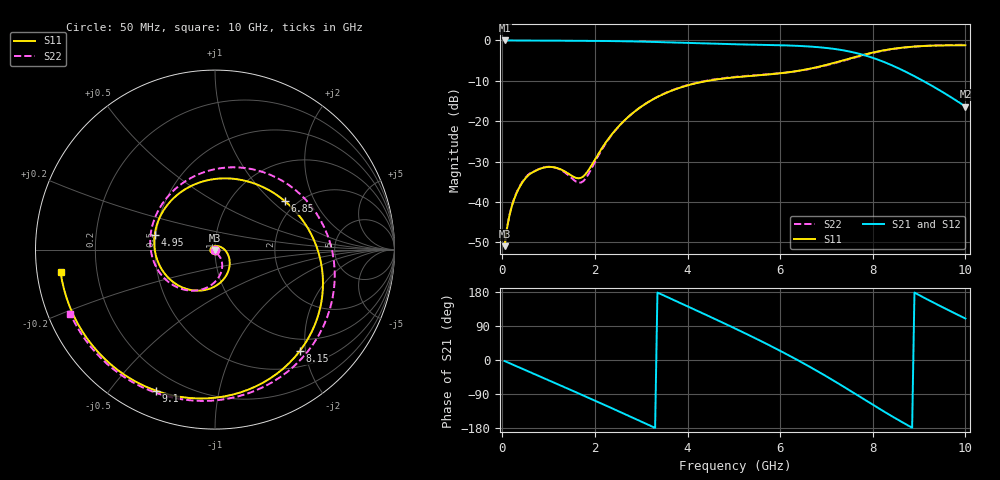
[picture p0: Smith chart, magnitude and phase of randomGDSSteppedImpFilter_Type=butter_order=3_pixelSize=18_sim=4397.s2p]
! freq	dB(S11)	phase(S11)	dB(S12)	phase(S12)
!  dB(S21)	phase(S21)	dB(S22)	phase(S22)
!S-par simulation data
#  GHz  S  DB  R 50
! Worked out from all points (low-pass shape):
!   200 points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, 50 MHz to 10 GHz, reference 50 ohm
!   highest |S21| = -0.02 dB at 50 MHz (marker M1); lowest = -16.4 dB at 10 GHz (marker M2)
!   |S21| within 3 dB of the highest: start of sweep to 7.601 GHz
!   lowest |S11| = -51.0 dB at 50 MHz (marker M3), VSWR 1.01, Z = 50.2 - j0.239 ohm
!   |S11| at or under -10 dB: start of sweep to 4.446 GHz
!   |S22| runs from -50.9 to -1.1 dB; largest |S21 - S12| = 0
!   S11 on the Smith chart (normalised r, x): 50 MHz: 1.00, -0.00; 4.95 GHz: 0.49, +0.09; 6.85 GHz: 1.74, +1.21; 8.15 GHz: 0.76, -1.89; 9.1 GHz: 0.11, -0.66; 10 GHz: 0.07, -0.07
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0.05  -50.96 -57.1  -0.02 -2.7  -0.02 -2.7  -50.87 -56.4
0.15  -43.60 -85.5  -0.03 -8.0  -0.03 -8.0  -43.45 -82.2
0.25  -39.51 -98.0  -0.03 -13.4  -0.03 -13.4  -39.35 -92.2
0.55  -33.52 -125.4  -0.05 -29.3  -0.05 -29.3  -33.34 -111.3
1.2  -31.67 180.0  -0.08 -64.0  -0.08 -64.0  -31.74 -131.0
1.75  -33.68 80.0  -0.11 -93.6  -0.11 -93.6  -34.86 -87.9
2.65  -19.69 -38.1  -0.22 -143.0  -0.22 -143.0  -19.72 -67.1
3.4  -13.73 -90.6  -0.43 175.2  -0.43 175.2  -13.68 -98.9
4.25  -10.44 -146.4  -0.73 127.6  -0.73 127.6  -10.35 -138.3
4.95  -9.22 166.6  -0.95 87.7  -0.95 87.7  -9.12 -171.2
5.05  -9.11 159.8  -0.97 81.8  -0.97 81.8  -9.01 -176.0
5.95  -8.21 96.3  -1.18 27.4  -1.18 27.4  -8.18 137.8
6.35  -7.61 68.3  -1.34 1.5  -1.34 1.5  -7.64 113.5
6.7  -6.87 44.6  -1.57 -22.1  -1.57 -22.1  -6.95 89.3
6.85  -6.49 34.8  -1.71 -32.6  -1.71 -32.6  -6.58 78.1
7.5  -4.50 -7.3  -2.76 -80.1  -2.76 -80.1  -4.61 24.4
8.15  -2.65 -50.2  -4.94 -129.1  -4.94 -129.1  -2.73 -31.2
8.35  -2.24 -63.5  -5.86 -143.8  -5.86 -143.8  -2.30 -47.4
8.75  -1.67 -89.9  -7.99 -172.0  -7.99 -172.0  -1.69 -77.7
9.1  -1.39 -112.7  -10.10 164.9  -10.10 164.9  -1.37 -101.9
9.6  -1.23 -145.1  -13.44 133.6  -13.44 133.6  -1.15 -133.1
10  -1.21 -171.7  -16.38 109.4  -16.38 109.4  -1.09 -156.1
